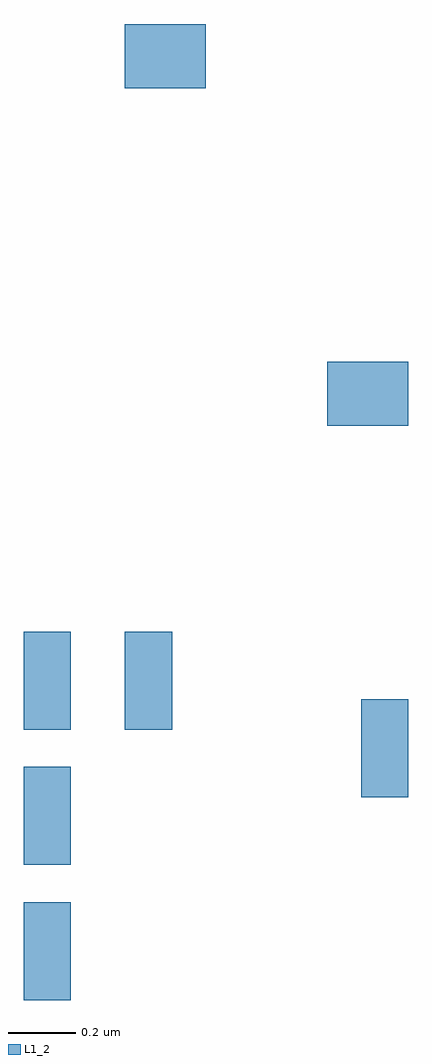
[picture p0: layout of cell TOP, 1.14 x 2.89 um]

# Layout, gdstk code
from math import pi, radians
import gdstk
lib = gdstk.Library(unit=1e-6, precision=1e-09)
def R(c, l, rs):  # rectangles x0, y0, x1, y1
    for r in rs: c.add(gdstk.rectangle(r[:2], r[2:], *l))
L1_2 = (1, 2)

c_a = lib.new_cell('A')
R(c_a, L1_2, [(0.3,-0.4,0.4,-0.2)])

top = lib.new_cell('TOP')
r = gdstk.Reference(c_a, (-0.3,0.4)); r.repetition = gdstk.Repetition(3, 4, v1=(0.02,0), v2=(0,0.03)); top.add(r)
r = gdstk.Reference(c_a, (-0.3,0.8)); r.repetition = gdstk.Repetition(3, 4, v1=(0.02,0), v2=(0,0.03)); top.add(r)
r = gdstk.Reference(c_a, (-0.3,1.2)); r.repetition = gdstk.Repetition(3, 4, v1=(0.02,0), v2=(0,0.03)); top.add(r)
r = gdstk.Reference(c_a, (0,1.2)); r.repetition = gdstk.Repetition(3, 4, v1=(0.02,0), v2=(0,0.03)); top.add(r)
r = gdstk.Reference(c_a, (0.7,0.4), x_reflection=True); r.repetition = gdstk.Repetition(3, 4, v1=(0.02,0), v2=(0,0.03)); top.add(r)
r = gdstk.Reference(c_a, (0.7,1.4), rotation=pi/2); r.repetition = gdstk.Repetition(3, 4, v1=(0.02,0), v2=(0,0.03)); top.add(r)
r = gdstk.Reference(c_a, (0.7,2.4), rotation=pi/2, x_reflection=True); r.repetition = gdstk.Repetition(3, 4, v1=(0.02,0), v2=(0,0.03)); top.add(r)

lib.write_gds('TOP.gds')
